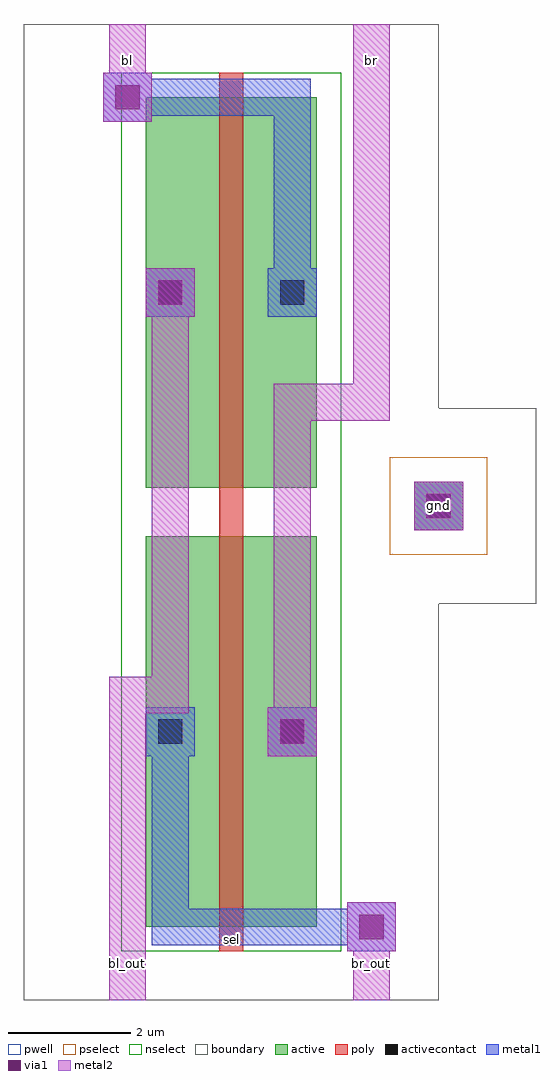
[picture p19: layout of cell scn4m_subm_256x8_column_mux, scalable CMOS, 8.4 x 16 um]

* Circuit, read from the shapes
.subckt scn4m_subm_256x8_column_mux bl bl_out br br_out gnd sel
M1 br sel br_out gnd nfet w=6.4u l=0.4u
M2 bl sel bl_out gnd nfet w=6.4u l=0.4u
.ends

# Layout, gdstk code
import gdstk
lib = gdstk.Library(unit=1e-6, precision=1e-09)
def R(c, l, rs):  # rectangles x0, y0, x1, y1
    for r in rs: c.add(gdstk.rectangle(r[:2], r[2:], *l))
pwell = (41, 0)
active = (43, 0)
pselect = (44, 0)
nselect = (45, 0)
poly = (46, 0)
activecontact = (48, 0)
metal1 = (49, 0)
via1 = (50, 0)
metal2 = (51, 0)
boundary = (63, 0)

scn4m_subm_256x8_contact = lib.new_cell('scn4m_subm_256x8_contact_11')
R(scn4m_subm_256x8_contact, pwell, [(-1.2,-1.2,2,2)])
R(scn4m_subm_256x8_contact, active, [(0,0,0.8,0.8)])
R(scn4m_subm_256x8_contact, nselect, [(-0.4,-0.4,1.2,1.2)])
R(scn4m_subm_256x8_contact, activecontact, [(0.2,0.2,0.6,0.6)])
R(scn4m_subm_256x8_contact, metal1, [(0,0,0.8,0.8)])
R(scn4m_subm_256x8_contact, boundary, [(-1.2,-1.2,2,2)])

scn4m_subm_256x8_nmos_m1 = lib.new_cell('scn4m_subm_256x8_nmos_m1_w6_400_sm1_dm1')
R(scn4m_subm_256x8_nmos_m1, pwell, [(-1.2,-1.2,4,7.6)])
R(scn4m_subm_256x8_nmos_m1, active, [(0,0,2.8,6.4)])
R(scn4m_subm_256x8_nmos_m1, nselect, [(-0.4,-0.4,3.2,6.8)])
R(scn4m_subm_256x8_nmos_m1, poly, [(1.2,-0.4,1.6,6.8), (1.2,-0.4,1.6,6.8)])
R(scn4m_subm_256x8_nmos_m1, metal1, [(0,2.8,0.8,3.6), (2,2.8,2.8,3.6)])
R(scn4m_subm_256x8_nmos_m1, boundary, [(-1.2,-1.2,4,7.6)])
scn4m_subm_256x8_nmos_m1.add(gdstk.Reference(scn4m_subm_256x8_contact, (0,2.8)))
scn4m_subm_256x8_nmos_m1.add(gdstk.Reference(scn4m_subm_256x8_contact, (2,2.8)))
scn4m_subm_256x8_nmos_m1.add(gdstk.Label('G', (1.4,3.2), layer=46, texttype=0))
scn4m_subm_256x8_nmos_m1.add(gdstk.Label('S', (0.4,3.2), layer=49, texttype=0))
scn4m_subm_256x8_nmos_m1.add(gdstk.Label('D', (2.4,3.2), layer=49, texttype=0))

c_scn4m_subm_256x8_contact = lib.new_cell('scn4m_subm_256x8_contact_18')
R(c_scn4m_subm_256x8_contact, metal1, [(0,0,0.8,0.8)])
R(c_scn4m_subm_256x8_contact, via1, [(0.2,0.2,0.6,0.6)])
R(c_scn4m_subm_256x8_contact, metal2, [(0,0,0.8,0.8)])
R(c_scn4m_subm_256x8_contact, boundary, [(0,0,0.8,0.8)])

c_scn4m_subm_256x8_contact_ = lib.new_cell('scn4m_subm_256x8_contact_25')
R(c_scn4m_subm_256x8_contact_, pwell, [(-1.2,-1.2,2,2)])
R(c_scn4m_subm_256x8_contact_, active, [(0,0,0.8,0.8)])
R(c_scn4m_subm_256x8_contact_, pselect, [(-0.4,-0.4,1.2,1.2)])
R(c_scn4m_subm_256x8_contact_, activecontact, [(0.2,0.2,0.6,0.6)])
R(c_scn4m_subm_256x8_contact_, metal1, [(0,0,0.8,0.8)])
R(c_scn4m_subm_256x8_contact_, boundary, [(-1.2,-1.2,2,2)])

scn4m_subm_256x8_column_ = lib.new_cell('scn4m_subm_256x8_column_mux')
R(scn4m_subm_256x8_column_, pwell, [(0,0,6.8,16)])
R(scn4m_subm_256x8_column_, poly, [(3.2,0.8,3.6,1.2), (3.2,7.6,3.6,8.4)])
R(scn4m_subm_256x8_column_, metal1, [(2.1,0.9,2.7,1.5), (2.4,0.9,5.7,1.5), (2.1,1.2,2.7,4.4), (6.5,7.8,7.1,8.4), (4.1,11.6,4.7,14.8), (1.4,14.5,4.4,15.1), (4.1,14.5,4.7,15.1)])
R(scn4m_subm_256x8_column_, metal2, [(1.4,0,2,1.2), (5.4,0,6,1.2), (1.4,1.2,2,5), (4.1,4.4,4.7,9.8), (1.4,4.7,2,5.3), (1.7,4.7,2.4,5.3), (2.1,4.7,2.7,5.3), (2.1,5,2.7,11.6), (4.1,9.5,4.7,10.1), (4.4,9.5,5.7,10.1), (5.4,9.5,6,10.1), (5.4,9.8,6,14.8), (1.4,14.8,2,16), (5.4,14.8,6,16)])
R(scn4m_subm_256x8_column_, boundary, [(0,0,6.8,16)])
scn4m_subm_256x8_column_.add(gdstk.Reference(scn4m_subm_256x8_nmos_m1, (2,1.2)))
scn4m_subm_256x8_column_.add(gdstk.Reference(scn4m_subm_256x8_nmos_m1, (2,8.4)))
scn4m_subm_256x8_column_.add(gdstk.Reference(c_scn4m_subm_256x8_contact, (1.3,14.4)))
scn4m_subm_256x8_column_.add(gdstk.Reference(c_scn4m_subm_256x8_contact, (5.3,0.8)))
scn4m_subm_256x8_column_.add(gdstk.Reference(c_scn4m_subm_256x8_contact, (2,11.2)))
scn4m_subm_256x8_column_.add(gdstk.Reference(c_scn4m_subm_256x8_contact, (4,4)))
scn4m_subm_256x8_column_.add(gdstk.Reference(c_scn4m_subm_256x8_contact_, (6.4,7.7)))
scn4m_subm_256x8_column_.add(gdstk.Reference(c_scn4m_subm_256x8_contact, (6.4,7.7)))
scn4m_subm_256x8_column_.add(gdstk.Label('sel', (3.4,1), layer=46, texttype=0))
scn4m_subm_256x8_column_.add(gdstk.Label('bl', (1.7,15.4), layer=51, texttype=0))
scn4m_subm_256x8_column_.add(gdstk.Label('br', (5.7,15.4), layer=51, texttype=0))
scn4m_subm_256x8_column_.add(gdstk.Label('bl_out', (1.7,0.6), layer=51, texttype=0))
scn4m_subm_256x8_column_.add(gdstk.Label('br_out', (5.7,0.6), layer=51, texttype=0))
scn4m_subm_256x8_column_.add(gdstk.Label('gnd', (6.8,8.1), layer=49, texttype=0))

lib.write_gds('scn4m_subm_256x8_column_mux.gds')
